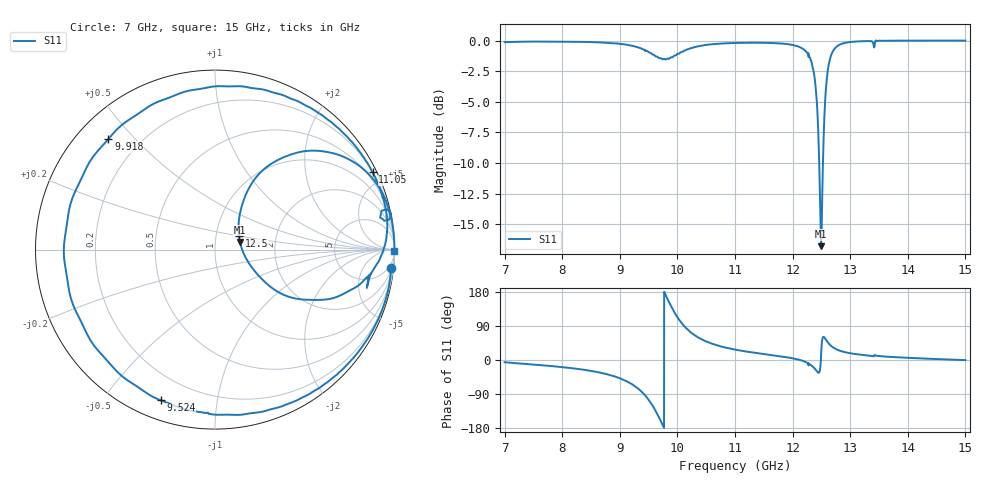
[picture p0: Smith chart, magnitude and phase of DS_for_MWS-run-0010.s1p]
! TOUCHSTONE file generated by CST DESIGN STUDIO
! Date and time: Mon Feb 10 16:49:10 2025
! Project name: C:\Work\MatlabApps\UnitCellType2OptimizationMatlab\CST\unitcell.cst
! Tree item: Tasks\Sweep1\SPara1\S-Parameters
! Header version: 2024
! Port assignment regex: !\s*Touchstone port\s*([0-9]+)\s*=\s*(CST MWS port|CST DES external port|CST DES block port)\s*(.+)\s* \(\"(.*)\"\)(\s*mode\s*([0-9]+))?.*
! Touchstone port assignment:
! Touchstone port 1 = CST DES external port 1 ("")
# GHz S MA R 50
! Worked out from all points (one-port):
!   4001 points, 7 GHz to 15 GHz, reference 50 ohm
!   lowest |S11| = -16.8 dB at 12.5 GHz (marker M1), VSWR 1.34, Z = 65.8 + j5.65 ohm
!   |S11| at or under -10 dB: 12.46 GHz to 12.53 GHz (64.53 MHz wide, 0.516 % of centre)
!   S11 on the Smith chart (normalised r, x): 7 GHz: 3, -19; 9.524 GHz: 0.08, -0.70; 9.918 GHz: 0.09, +0.42; 11.05 GHz: 0.21, +4.30; 12.5 GHz: 1.29, +0.20; 15 GHz: open
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7  0.9851 -5.9
8  0.9897 -18.8
8.622  0.9834 -32.2
9  0.9698 -48.1
9.278  0.9425 -70.7
9.524  0.8925 -109.8
9.624  0.8611 -134.8
9.74  0.8385 -170.2
9.824  0.8446 162.4
9.918  0.8558 133.9
10  0.8817 112.8
10.146  0.9129 84.9
10.388  0.9499 57.2
10.652  0.9679 40.4
11  0.9773 27.4
11.046  0.9783 26.1
12  0.9589 4.6
12.32  0.829 -13.6
12.424  0.5472 -30.3
12.47  0.2653 -29.6
12.496  0.1449 16.9
12.5  0.1525 28.9
12.558  0.5291 58.5
12.614  0.7644 46.1
12.75  0.9376 28.9
13  0.9862 17.8
14  0.9988 5.8
15  0.9995 -0.3
